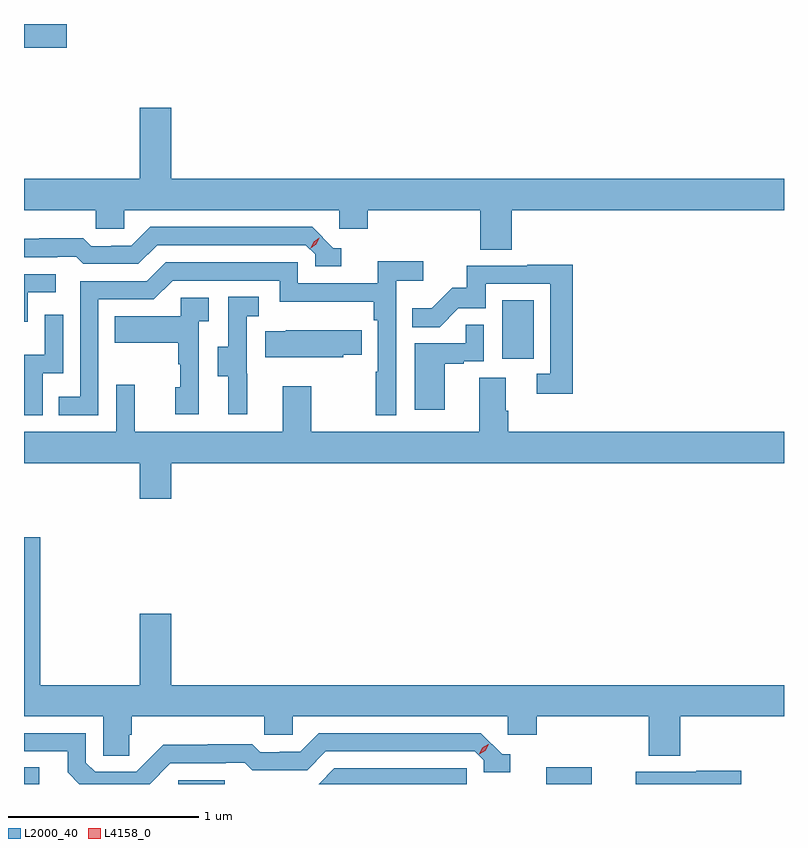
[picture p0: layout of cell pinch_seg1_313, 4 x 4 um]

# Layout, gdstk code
import gdstk
lib = gdstk.Library(unit=1e-6, precision=1e-09)
def R(c, l, rs):  # rectangles x0, y0, x1, y1
    for r in rs: c.add(gdstk.rectangle(r[:2], r[2:], *l))
def P(c, l, *ps):  # polygons
    for p in ps: c.add(gdstk.Polygon(p, *l))
L2000_40 = (2000, 40)
L4158_0 = (4158, 0)

pinch_seg1_313 = lib.new_cell('pinch_seg1_313')
R(pinch_seg1_313, L2000_40, [(1003.558,559.367,1003.639,559.454), (1004.37,559.367,1004.614,559.386), (1006.307,559.367,1006.546,559.454), (1006.076,561.606,1006.24,561.913), (1003.558,563.243,1003.783,563.367)])
P(pinch_seg1_313, L2000_40, [(1006.124,562.388),(1007.558,562.388),(1007.558,562.552),(1004.332,562.552),(1004.332,562.927),(1004.168,562.927),(1004.168,562.552),(1003.558,562.552),(1003.558,562.388),(1003.935,562.388),(1003.935,562.29),(1004.085,562.29),(1004.085,562.388),(1005.216,562.388),(1005.216,562.29),(1005.368,562.29),(1005.368,562.388),(1005.959,562.388),(1005.959,562.18),(1006.124,562.18)],
  [(1005.229,562.188),(1005.186,562.188),(1005.075,562.299),(1004.222,562.299),(1004.123,562.2),(1004.016,562.2),(1004.016,562.197),(1003.913,562.197),(1003.871,562.24),(1003.638,562.24),(1003.638,562.237),(1003.558,562.237),(1003.558,562.14),(1003.733,562.14),(1003.733,562.143),(1003.832,562.143),(1003.871,562.104),(1004.16,562.104),(1004.259,562.203),(1005.042,562.203),(1005.09,562.155),(1005.09,562.092),(1005.229,562.092)],
  [(1003.95,561.918),(1004.241,561.918),(1004.34,562.017),(1004.904,562.017),(1004.904,561.905),(1005.4,561.905),(1005.4,561.809),(1005.42,561.809),(1005.42,561.536),(1005.408,561.536),(1005.408,561.309),(1005.516,561.309),(1005.516,562.016),(1005.658,562.016),(1005.658,562.118),(1005.419,562.118),(1005.419,562.002),(1005,562.002),(1005,562.113),(1004.303,562.113),(1004.204,562.014),(1003.854,562.014),(1003.854,561.405),(1003.741,561.405),(1003.741,561.309),(1003.95,561.309)],
  [(1006.445,562.1),(1006.207,562.1),(1006.207,562.095),(1005.889,562.095),(1005.889,561.978),(1005.812,561.978),(1005.705,561.871),(1005.601,561.871),(1005.601,561.772),(1005.745,561.772),(1005.843,561.87),(1005.987,561.87),(1005.987,561.999),(1006.329,561.999),(1006.329,561.525),(1006.257,561.525),(1006.257,561.42),(1006.445,561.42)],
  [(1003.578,561.954),(1003.726,561.954),(1003.726,562.05),(1003.558,562.05),(1003.558,561.801),(1003.578,561.801)],
  [(1004.732,561.525),(1004.73,561.525),(1004.73,561.829),(1004.794,561.829),(1004.794,561.932),(1004.634,561.932),(1004.634,561.669),(1004.579,561.669),(1004.579,561.514),(1004.633,561.514),(1004.633,561.312),(1004.732,561.312)],
  [(1004.478,561.803),(1004.53,561.803),(1004.53,561.927),(1004.382,561.927),(1004.382,561.829),(1004.035,561.829),(1004.035,561.689),(1004.37,561.689),(1004.37,561.575),(1004.38,561.575),(1004.38,561.456),(1004.354,561.456),(1004.354,561.312),(1004.478,561.312)],
  [(1003.656,561.528),(1003.764,561.528),(1003.764,561.838),(1003.668,561.838),(1003.668,561.626),(1003.559,561.626),(1003.559,561.418),(1003.558,561.418),(1003.558,561.309),(1003.656,561.309)],
  [(1005.772,561.579),(1005.872,561.579),(1005.872,561.591),(1005.978,561.591),(1005.978,561.785),(1005.883,561.785),(1005.883,561.687),(1005.614,561.687),(1005.614,561.336),(1005.772,561.336)],
  [(1005.237,561.625),(1005.335,561.625),(1005.335,561.754),(1004.935,561.754),(1004.935,561.751),(1004.827,561.751),(1004.827,561.614),(1005.237,561.614)],
  [(1004.332,561.056),(1007.558,561.056),(1007.558,561.22),(1006.106,561.22),(1006.106,561.332),(1006.093,561.332),(1006.093,561.506),(1005.953,561.506),(1005.953,561.22),(1005.069,561.22),(1005.069,561.46),(1004.921,561.46),(1004.921,561.22),(1004.141,561.22),(1004.141,561.469),(1004.043,561.469),(1004.043,561.22),(1003.558,561.22),(1003.558,561.056),(1004.168,561.056),(1004.168,560.868),(1004.332,560.868)],
  [(1003.643,560.667),(1003.558,560.667),(1003.558,559.724),(1003.974,559.724),(1003.974,559.516),(1004.111,559.516),(1004.111,559.626),(1004.126,559.626),(1004.126,559.724),(1004.823,559.724),(1004.823,559.626),(1004.973,559.626),(1004.973,559.724),(1006.104,559.724),(1006.104,559.626),(1006.256,559.626),(1006.256,559.724),(1006.847,559.724),(1006.847,559.516),(1007.012,559.516),(1007.012,559.724),(1007.558,559.724),(1007.558,559.888),(1004.332,559.888),(1004.332,560.263),(1004.168,560.263),(1004.168,559.888),(1003.643,559.888)],
  [(1004.328,559.476),(1004.621,559.476),(1004.621,559.479),(1004.72,559.479),(1004.759,559.44),(1005.048,559.44),(1005.147,559.539),(1005.93,559.539),(1005.978,559.491),(1005.978,559.428),(1006.117,559.428),(1006.117,559.524),(1006.074,559.524),(1005.963,559.635),(1005.11,559.635),(1005.011,559.536),(1004.904,559.536),(1004.904,559.533),(1004.801,559.533),(1004.759,559.576),(1004.526,559.576),(1004.526,559.573),(1004.29,559.573),(1004.148,559.431),(1003.932,559.431),(1003.884,559.479),(1003.884,559.635),(1003.558,559.635),(1003.558,559.539),(1003.787,559.539),(1003.787,559.429),(1003.849,559.367),(1004.219,559.367)],
  [(1005.888,559.449),(1005.191,559.449),(1005.109,559.367),(1005.888,559.367)],
  [(1007.333,559.436),(1007.095,559.436),(1007.095,559.431),(1006.777,559.431),(1006.777,559.367),(1007.333,559.367)])
P(pinch_seg1_313, L4158_0, [(1005.067,562.188),(1005.067,562.189),(1005.082,562.221),(1005.113,562.241),(1005.113,562.241),(1005.113,562.241),(1005.097,562.208),(1005.067,562.188)],
  [(1005.955,559.524),(1005.955,559.524),(1005.971,559.557),(1006.002,559.576),(1006.003,559.576),(1006.003,559.576),(1005.986,559.543),(1005.955,559.524)])

lib.write_gds('pinch_seg1_313.gds')
